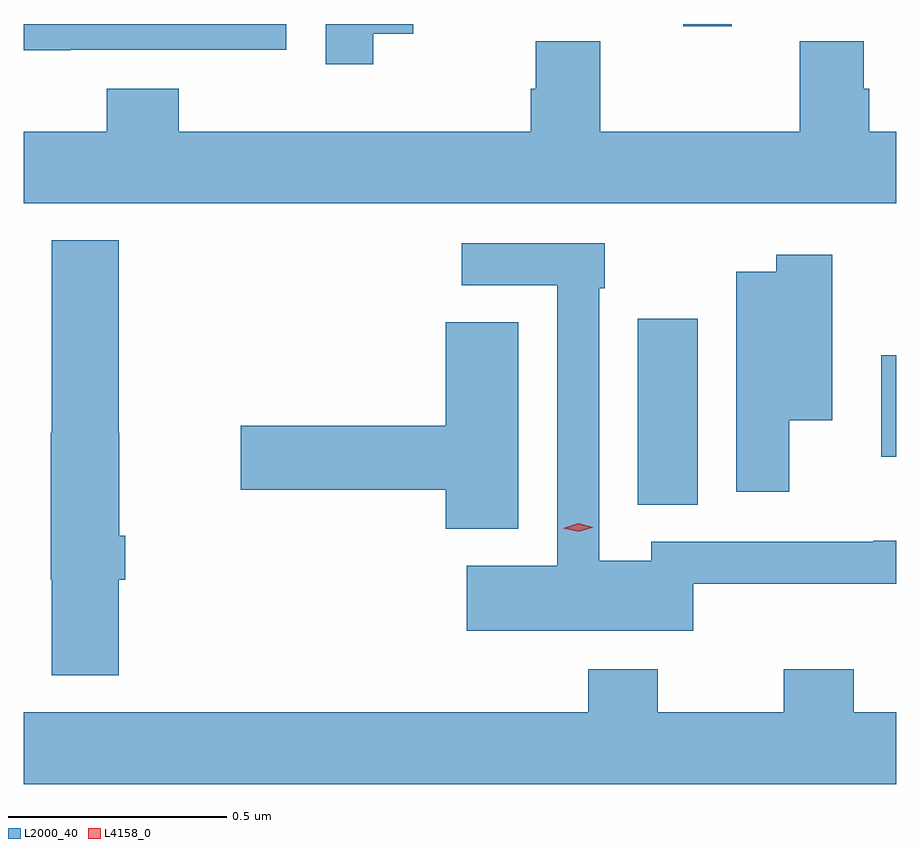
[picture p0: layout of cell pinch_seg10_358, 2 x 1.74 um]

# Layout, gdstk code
import gdstk
lib = gdstk.Library(unit=1e-6, precision=1e-09)
def R(c, l, rs):  # rectangles x0, y0, x1, y1
    for r in rs: c.add(gdstk.rectangle(r[:2], r[2:], *l))
def P(c, l, *ps):  # polygons
    for p in ps: c.add(gdstk.Polygon(p, *l))
L2000_40 = (2000, 40)
L4158_0 = (4158, 0)

pinch_seg10_358 = lib.new_cell('pinch_seg10_358')
R(pinch_seg10_358, L2000_40, [(480.821,1275.649,480.958,1276.075), (481.379,1275.758,481.413,1275.991), (480.925,1276.746,481.036,1276.751)])
P(pinch_seg10_358, L2000_40, [(480.214,1276.729),(480.306,1276.729),(480.306,1276.751),(480.105,1276.751),(480.105,1276.659),(480.214,1276.659)],
  [(479.519,1276.692),(480.015,1276.692),(480.015,1276.751),(479.413,1276.751),(479.413,1276.691),(479.519,1276.691)],
  [(481.413,1276.504),(481.352,1276.504),(481.352,1276.602),(481.339,1276.602),(481.339,1276.712),(481.192,1276.712),(481.192,1276.504),(480.735,1276.504),(480.735,1276.712),(480.587,1276.712),(480.587,1276.602),(480.575,1276.602),(480.575,1276.504),(479.768,1276.504),(479.768,1276.603),(479.603,1276.603),(479.603,1276.504),(479.413,1276.504),(479.413,1276.34),(481.413,1276.34)],
  [(479.63,1275.477),(479.645,1275.477),(479.645,1275.577),(479.632,1275.577),(479.632,1275.813),(479.63,1275.813),(479.63,1276.255),(479.477,1276.255),(479.477,1275.813),(479.474,1275.813),(479.474,1275.477),(479.477,1275.477),(479.477,1275.257),(479.63,1275.257)],
  [(480.948,1275.467),(481.413,1275.467),(481.413,1275.566),(481.361,1275.566),(481.361,1275.564),(480.852,1275.564),(480.852,1275.52),(480.732,1275.52),(480.732,1276.145),(480.745,1276.145),(480.745,1276.248),(480.417,1276.248),(480.417,1276.152),(480.636,1276.152),(480.636,1275.508),(480.429,1275.508),(480.429,1275.359),(480.948,1275.359)],
  [(481.168,1275.842),(481.267,1275.842),(481.267,1276.222),(481.138,1276.222),(481.138,1276.183),(481.046,1276.183),(481.046,1275.678),(481.168,1275.678)],
  [(480.547,1276.067),(480.38,1276.067),(480.38,1275.83),(479.91,1275.83),(479.91,1275.683),(480.38,1275.683),(480.38,1275.593),(480.547,1275.593)],
  [(481.413,1275.172),(481.316,1275.172),(481.316,1275.271),(481.156,1275.271),(481.156,1275.172),(480.867,1275.172),(480.867,1275.271),(480.707,1275.271),(480.707,1275.172),(479.413,1275.172),(479.413,1275.008),(481.413,1275.008)])
P(pinch_seg10_358, L4158_0, [(480.685,1275.586),(480.65,1275.595),(480.65,1275.595),(480.65,1275.595),(480.684,1275.606),(480.719,1275.597),(480.719,1275.597),(480.719,1275.597)])

lib.write_gds('pinch_seg10_358.gds')
